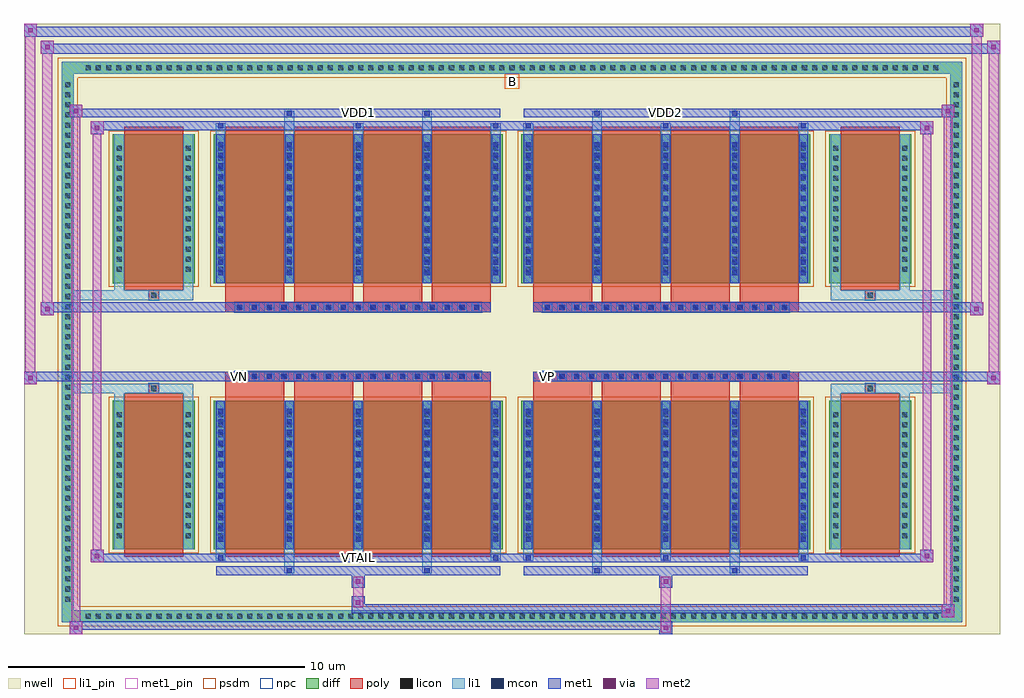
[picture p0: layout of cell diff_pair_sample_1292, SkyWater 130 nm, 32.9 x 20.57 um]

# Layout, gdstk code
import gdstk
lib = gdstk.Library(unit=1e-6, precision=5e-09)
def R(c, l, rs):  # rectangles x0, y0, x1, y1
    for r in rs: c.add(gdstk.rectangle(r[:2], r[2:], *l))
def A(c, l, x, y, w, h, nx, ny, dx, dy):  # array of equal rectangles
    R(c, l, [(x+i*dx, y+j*dy, x+i*dx+w, y+j*dy+h) for i in range(nx) for j in range(ny)])
def P(c, l, *ps):  # polygons
    for p in ps: c.add(gdstk.Polygon(p, *l))
nwell = (64, 20)
diff = (65, 20)
poly = (66, 20)
licon = (66, 44)
li1_pin = (67, 16)
li1 = (67, 20)
mcon = (67, 44)
met1_pin = (68, 16)
met1 = (68, 20)
via = (68, 44)
met2 = (69, 20)
psdm = (94, 20)
npc = (95, 20)

diff_pair_sample_1292 = lib.new_cell('diff_pair_sample_1292')
R(diff_pair_sample_1292, nwell, [(-16.45,-9.85,16.45,10.72), (-13.77,-8.04,-0.01,-0.8), (0.01,-8.04,13.77,-0.8), (-13.77,0.8,-0.01,8.04), (0.01,0.8,13.77,8.04)])
A(diff_pair_sample_1292, diff, -14.485, -9.45, 0.41, 0.41, 85, 2, 0.34, 18.49)
A(diff_pair_sample_1292, diff, -15.18, -8.875, 0.41, 0.41, 1, 52, 0, 0.34)
A(diff_pair_sample_1292, diff, 14.77, -8.875, 0.41, 0.41, 1, 52, 0, 0.34)
R(diff_pair_sample_1292, diff, [(-14.485,-9.45,14.485,-9.04), (-15.18,-8.875,-14.77,8.875), (14.77,-8.875,15.18,8.875), (-13.46,-6.995,-10.69,-1.985), (-10.05,-6.995,-0.32,-1.985), (0.32,-6.995,10.05,-1.985), (10.69,-6.995,13.46,-1.985), (-13.46,1.985,-10.69,6.995), (-10.05,1.985,-0.32,6.995), (0.32,1.985,10.05,6.995), (10.69,1.985,13.46,6.995), (-14.485,9.04,14.485,9.45)])
P(diff_pair_sample_1292, diff, [(15.18,9.45),(-15.18,9.45),(-15.18,-9.04),(-14.77,-9.04),(-14.77,9.04),(14.77,9.04),(14.77,-9.04),(-14.77,-9.04),(-15.18,-9.04),(-15.18,-9.45),(15.18,-9.45)])
A(diff_pair_sample_1292, poly, -9.66, -7.245, 1.99, 5.51, 4, 2, 2.32, 8.98)
A(diff_pair_sample_1292, poly, 0.71, -7.245, 1.99, 5.51, 4, 2, 2.32, 8.98)
A(diff_pair_sample_1292, poly, -9.66, -1.735, 1.99, 0.405, 4, 2, 2.32, 3.065)
A(diff_pair_sample_1292, poly, 0.71, -1.735, 1.99, 0.405, 4, 2, 2.32, 3.065)
A(diff_pair_sample_1292, poly, -9.35, -1.33, 0.33, 0.33, 17, 2, 0.5, 2.33)
A(diff_pair_sample_1292, poly, 1.02, -1.33, 0.33, 0.33, 17, 2, 0.5, 2.33)
R(diff_pair_sample_1292, poly, [(-13.07,-7.245,-11.08,-1.735), (11.08,-7.245,13.07,-1.735), (-12.24,-1.735,-11.91,-1.405), (-12.24,-1.735,-11.91,-1.405), (11.91,-1.735,12.24,-1.405), (11.91,-1.735,12.24,-1.405), (-9.66,-1.33,-0.71,-1), (0.71,-1.33,9.66,-1), (-9.66,1,-0.71,1.33), (0.71,1,9.66,1.33), (-12.24,1.405,-11.91,1.735), (-12.24,1.405,-11.91,1.735), (11.91,1.405,12.24,1.735), (11.91,1.405,12.24,1.735), (-13.07,1.735,-11.08,7.245), (11.08,1.735,13.07,7.245)])
A(diff_pair_sample_1292, licon, -14.365, -9.33, 0.17, 0.17, 85, 2, 0.34, 18.49)
A(diff_pair_sample_1292, licon, -15.06, -8.755, 0.17, 0.17, 1, 52, 0, 0.34)
A(diff_pair_sample_1292, licon, 14.89, -8.755, 0.17, 0.17, 1, 52, 0, 0.34)
A(diff_pair_sample_1292, licon, -13.32, -6.615, 0.17, 0.17, 1, 13, 0, 0.34)
A(diff_pair_sample_1292, licon, -11, -6.615, 0.17, 0.17, 1, 13, 0, 0.34)
A(diff_pair_sample_1292, licon, -9.91, -6.615, 0.17, 0.17, 5, 13, 2.32, 0.34)
A(diff_pair_sample_1292, licon, 0.46, -6.615, 0.17, 0.17, 5, 13, 2.32, 0.34)
A(diff_pair_sample_1292, licon, 10.83, -6.615, 0.17, 0.17, 1, 13, 0, 0.34)
A(diff_pair_sample_1292, licon, 13.15, -6.615, 0.17, 0.17, 1, 13, 0, 0.34)
A(diff_pair_sample_1292, licon, -9.27, -1.25, 0.17, 0.17, 17, 2, 0.5, 2.33)
A(diff_pair_sample_1292, licon, 1.1, -1.25, 0.17, 0.17, 17, 2, 0.5, 2.33)
A(diff_pair_sample_1292, licon, -13.32, 2.365, 0.17, 0.17, 1, 13, 0, 0.34)
A(diff_pair_sample_1292, licon, -11, 2.365, 0.17, 0.17, 1, 13, 0, 0.34)
A(diff_pair_sample_1292, licon, -9.91, 2.365, 0.17, 0.17, 5, 13, 2.32, 0.34)
A(diff_pair_sample_1292, licon, 0.46, 2.365, 0.17, 0.17, 5, 13, 2.32, 0.34)
A(diff_pair_sample_1292, licon, 10.83, 2.365, 0.17, 0.17, 1, 13, 0, 0.34)
A(diff_pair_sample_1292, licon, 13.15, 2.365, 0.17, 0.17, 1, 13, 0, 0.34)
R(diff_pair_sample_1292, licon, [(-12.16,-1.655,-11.99,-1.485), (11.99,-1.655,12.16,-1.485), (-12.16,1.485,-11.99,1.655), (11.99,1.485,12.16,1.655)])
R(diff_pair_sample_1292, li1_pin, [(-0.25,8.54,0.25,9.04)])
A(diff_pair_sample_1292, li1, -14.445, -9.41, 0.33, 0.33, 85, 2, 0.34, 18.49)
A(diff_pair_sample_1292, li1, -15.14, -8.835, 0.33, 0.33, 1, 52, 0, 0.34)
A(diff_pair_sample_1292, li1, 14.81, -8.835, 0.33, 0.33, 1, 52, 0, 0.34)
A(diff_pair_sample_1292, li1, -9.99, -7.37, 0.33, 0.375, 3, 2, 4.64, 14.365)
A(diff_pair_sample_1292, li1, -9.91, -7.37, 0.17, 0.17, 3, 2, 4.64, 14.57)
A(diff_pair_sample_1292, li1, 0.38, -7.37, 0.33, 0.375, 3, 2, 4.64, 14.365)
A(diff_pair_sample_1292, li1, 0.46, -7.37, 0.17, 0.17, 3, 2, 4.64, 14.57)
A(diff_pair_sample_1292, li1, -9.99, -6.995, 0.33, 5.01, 5, 2, 2.32, 8.98)
A(diff_pair_sample_1292, li1, 0.38, -6.995, 0.33, 5.01, 5, 2, 2.32, 8.98)
A(diff_pair_sample_1292, li1, -9.91, -6.735, 0.17, 0.17, 5, 13, 2.32, 0.36)
A(diff_pair_sample_1292, li1, -9.91, -6.735, 0.17, 4.49, 5, 2, 2.32, 8.98)
A(diff_pair_sample_1292, li1, 0.46, -6.735, 0.17, 0.17, 5, 13, 2.32, 0.36)
A(diff_pair_sample_1292, li1, 0.46, -6.735, 0.17, 4.49, 5, 2, 2.32, 8.98)
A(diff_pair_sample_1292, li1, -13.4, -6.695, 0.33, 0.33, 1, 13, 0, 0.34)
A(diff_pair_sample_1292, li1, -11.08, -6.695, 0.33, 0.33, 1, 13, 0, 0.34)
A(diff_pair_sample_1292, li1, -9.99, -6.695, 0.33, 0.33, 5, 13, 2.32, 0.34)
A(diff_pair_sample_1292, li1, 0.38, -6.695, 0.33, 0.33, 5, 13, 2.32, 0.34)
A(diff_pair_sample_1292, li1, 10.75, -6.695, 0.33, 0.33, 1, 13, 0, 0.34)
A(diff_pair_sample_1292, li1, 13.07, -6.695, 0.33, 0.33, 1, 13, 0, 0.34)
A(diff_pair_sample_1292, li1, -9.35, -1.33, 0.33, 0.33, 17, 2, 0.5, 2.33)
A(diff_pair_sample_1292, li1, 1.02, -1.33, 0.33, 0.33, 17, 2, 0.5, 2.33)
A(diff_pair_sample_1292, li1, -9.91, 2.245, 0.17, 0.17, 5, 13, 2.32, 0.36)
A(diff_pair_sample_1292, li1, 0.46, 2.245, 0.17, 0.17, 5, 13, 2.32, 0.36)
A(diff_pair_sample_1292, li1, -13.4, 2.285, 0.33, 0.33, 1, 13, 0, 0.34)
A(diff_pair_sample_1292, li1, -11.08, 2.285, 0.33, 0.33, 1, 13, 0, 0.34)
A(diff_pair_sample_1292, li1, -9.99, 2.285, 0.33, 0.33, 5, 13, 2.32, 0.34)
A(diff_pair_sample_1292, li1, 0.38, 2.285, 0.33, 0.33, 5, 13, 2.32, 0.34)
A(diff_pair_sample_1292, li1, 10.75, 2.285, 0.33, 0.33, 1, 13, 0, 0.34)
A(diff_pair_sample_1292, li1, 13.07, 2.285, 0.33, 0.33, 1, 13, 0, 0.34)
R(diff_pair_sample_1292, li1, [(-15.18,-9.45,-14.77,-9.04), (-15.18,-9.45,-14.77,-9.04), (-14.77,-9.45,14.77,-9.04), (14.77,-9.45,15.18,-9.04), (14.77,-9.45,15.18,-9.04), (-15.18,-9.04,-14.77,9.04), (14.77,-9.04,15.18,9.04), (-7.67,-7.8,-7.34,-6.995), (-7.59,-7.8,-7.42,-7.63), (-3.03,-7.8,-2.7,-6.995), (-2.95,-7.8,-2.78,-7.63), (2.7,-7.8,3.03,-6.995), (2.78,-7.8,2.95,-7.63), (7.34,-7.8,7.67,-6.995), (7.42,-7.8,7.59,-7.63), (-13.4,-6.995,-13.07,-1.985), (-11.08,-6.995,-10.75,-1.985), (10.75,-6.995,11.08,-1.985), (13.07,-6.995,13.4,-1.985), (-13.4,-1.985,-13.07,-1.405), (-11.08,-1.985,-10.75,-1.405), (10.75,-1.985,11.08,-1.405), (13.07,-1.985,13.4,-1.405), (-15.18,-1.735,-12.24,-1.405), (-13.4,-1.735,-12.24,-1.405), (-12.24,-1.735,-11.91,-1.405), (-11.91,-1.735,-10.75,-1.405), (10.75,-1.735,11.91,-1.405), (11.91,-1.735,12.24,-1.405), (11.91,-1.735,15.18,-1.405), (12.24,-1.735,13.4,-1.405), (-15.18,1.405,-12.24,1.735), (-13.4,1.405,-12.24,1.735), (-13.4,1.405,-13.07,1.985), (-12.24,1.405,-11.91,1.735), (-11.91,1.405,-10.75,1.735), (-11.08,1.405,-10.75,1.985), (10.75,1.405,11.91,1.735), (10.75,1.405,11.08,1.985), (11.91,1.405,12.24,1.735), (11.91,1.405,15.18,1.735), (12.24,1.405,13.4,1.735), (13.07,1.405,13.4,1.985), (-13.4,1.985,-13.07,6.995), (-11.08,1.985,-10.75,6.995), (10.75,1.985,11.08,6.995), (13.07,1.985,13.4,6.995), (-7.67,6.995,-7.34,7.8), (-3.03,6.995,-2.7,7.8), (2.7,6.995,3.03,7.8), (7.34,6.995,7.67,7.8), (-7.59,7.63,-7.42,7.8), (-2.95,7.63,-2.78,7.8), (2.78,7.63,2.95,7.8), (7.42,7.63,7.59,7.8), (-15.18,9.04,-14.77,9.45), (-15.18,9.04,-14.77,9.45), (-14.77,9.04,14.77,9.45), (14.77,9.04,15.18,9.45), (14.77,9.04,15.18,9.45)])
A(diff_pair_sample_1292, mcon, -9.91, -7.37, 0.17, 0.17, 3, 2, 4.64, 14.57)
A(diff_pair_sample_1292, mcon, 0.46, -7.37, 0.17, 0.17, 3, 2, 4.64, 14.57)
A(diff_pair_sample_1292, mcon, -9.91, -6.735, 0.17, 0.17, 5, 13, 2.32, 0.36)
A(diff_pair_sample_1292, mcon, 0.46, -6.735, 0.17, 0.17, 5, 13, 2.32, 0.36)
A(diff_pair_sample_1292, mcon, -9.27, -1.25, 0.17, 0.17, 17, 2, 0.5, 2.33)
A(diff_pair_sample_1292, mcon, 1.1, -1.25, 0.17, 0.17, 17, 2, 0.5, 2.33)
A(diff_pair_sample_1292, mcon, -9.91, 2.245, 0.17, 0.17, 5, 13, 2.32, 0.36)
A(diff_pair_sample_1292, mcon, 0.46, 2.245, 0.17, 0.17, 5, 13, 2.32, 0.36)
R(diff_pair_sample_1292, mcon, [(-7.59,-7.8,-7.42,-7.63), (-2.95,-7.8,-2.78,-7.63), (2.78,-7.8,2.95,-7.63), (7.42,-7.8,7.59,-7.63), (-7.59,7.63,-7.42,7.8), (-2.95,7.63,-2.78,7.8), (2.78,7.63,2.95,7.8), (7.42,7.63,7.59,7.8)])
R(diff_pair_sample_1292, met1_pin, [(-5.32,-7.41,-5.05,-7.14), (-9.32,-1.29,-9.05,-1.02), (1.05,-1.29,1.32,-1.02), (-5.32,7.59,-5.05,7.86), (5.05,7.59,5.32,7.86)])
A(diff_pair_sample_1292, met1, -9.97, -7.43, 0.29, 0.29, 3, 2, 4.64, 14.57)
A(diff_pair_sample_1292, met1, 0.4, -7.43, 0.29, 0.29, 3, 2, 4.64, 14.57)
A(diff_pair_sample_1292, met1, -9.97, -6.995, 0.29, 5.01, 5, 2, 2.32, 8.98)
A(diff_pair_sample_1292, met1, 0.4, -6.995, 0.29, 5.01, 5, 2, 2.32, 8.98)
A(diff_pair_sample_1292, met1, -9.97, -6.795, 0.29, 0.29, 5, 13, 2.32, 0.36)
A(diff_pair_sample_1292, met1, 0.4, -6.795, 0.29, 0.29, 5, 13, 2.32, 0.36)
A(diff_pair_sample_1292, met1, -9.33, -1.31, 0.29, 0.29, 17, 2, 0.5, 2.33)
A(diff_pair_sample_1292, met1, 1.04, -1.31, 0.29, 0.29, 17, 2, 0.5, 2.33)
A(diff_pair_sample_1292, met1, -9.97, 2.185, 0.29, 0.29, 5, 13, 2.32, 0.36)
A(diff_pair_sample_1292, met1, 0.4, 2.185, 0.29, 0.29, 5, 13, 2.32, 0.36)
R(diff_pair_sample_1292, met1, [(-14.91,-9.85,-14.48,-9.42), (4.97,-9.85,5.4,-9.42), (-14.91,-9.71,5.4,-9.42), (14.48,-9.28,14.91,-8.85), (-5.4,-9.14,14.91,-8.85), (-5.4,-9,-4.97,-8.57), (-5.4,-8.29,-4.97,-7.86), (4.97,-8.29,5.4,-7.86), (-9.97,-7.86,-0.4,-7.57), (-7.65,-7.86,-7.36,-7.57), (-3.01,-7.86,-2.72,-7.57), (0.4,-7.86,9.97,-7.57), (2.72,-7.86,3.01,-7.57), (7.36,-7.86,7.65,-7.57), (-14.2,-7.43,-13.77,-7), (-14.2,-7.43,-9.97,-7.14), (-9.97,-7.43,-0.4,-7.14), (-0.4,-7.43,0.4,-7.14), (0.4,-7.43,9.97,-7.14), (9.97,-7.43,14.2,-7.14), (13.77,-7.43,14.2,-7), (-16.45,-1.43,-16.02,-1), (16.02,-1.43,16.45,-1), (-16.45,-1.33,-0.71,-1), (-9.66,-1.33,-0.71,-1), (0.71,-1.33,9.66,-1), (0.71,-1.33,16.45,-1), (-15.88,0.9,-15.45,1.33), (15.45,0.9,15.88,1.33), (-15.88,1,-9.66,1.33), (-9.66,1,-0.71,1.33), (0.71,1,9.66,1.33), (9.66,1,15.88,1.33), (-14.2,7,-13.77,7.43), (13.77,7,14.2,7.43), (-14.2,7.14,-9.97,7.43), (-9.97,7.14,-0.4,7.43), (-0.4,7.14,0.4,7.43), (0.4,7.14,9.97,7.43), (9.97,7.14,14.2,7.43), (-14.91,7.57,-14.48,8), (-14.91,7.57,-9.97,7.86), (-9.97,7.57,-0.4,7.86), (-7.65,7.57,-7.36,7.86), (-3.01,7.57,-2.72,7.86), (0.4,7.57,9.97,7.86), (2.72,7.57,3.01,7.86), (7.36,7.57,7.65,7.86), (9.97,7.57,14.91,7.86), (14.48,7.57,14.91,8), (-15.88,9.72,-15.45,10.15), (-15.88,9.72,-13.77,10.05), (-13.77,9.72,13.77,10.05), (13.77,9.72,16.45,10.05), (16.02,9.72,16.45,10.15), (-16.45,10.29,-16.02,10.72), (-16.45,10.29,-13.77,10.62), (-13.77,10.29,13.77,10.62), (13.77,10.29,15.88,10.62), (15.45,10.29,15.88,10.72)])
R(diff_pair_sample_1292, via, [(-14.77,-9.71,-14.62,-9.56), (5.11,-9.71,5.26,-9.56), (14.62,-9.14,14.77,-8.99), (-5.26,-8.86,-5.11,-8.71), (-5.26,-8.15,-5.11,-8), (5.11,-8.15,5.26,-8), (-14.06,-7.29,-13.91,-7.14), (13.91,-7.29,14.06,-7.14), (-16.31,-1.29,-16.16,-1.14), (16.16,-1.29,16.31,-1.14), (-15.74,1.04,-15.59,1.19), (15.59,1.04,15.74,1.19), (-14.06,7.14,-13.91,7.29), (13.91,7.14,14.06,7.29), (-14.77,7.71,-14.62,7.86), (14.62,7.71,14.77,7.86), (-15.74,9.86,-15.59,10.01), (16.16,9.86,16.31,10.01), (-16.31,10.43,-16.16,10.58), (15.59,10.43,15.74,10.58)])
R(diff_pair_sample_1292, met2, [(-14.91,-9.85,-14.48,-9.42), (-14.84,-9.85,-14.55,8), (-14.55,-9.85,-14.48,-9.42), (-14.86,-9.8,-14.53,-9.47), (5.02,-9.8,5.35,-9.47), (5.02,-9.47,5.35,-8.24), (14.48,-9.28,14.91,-8.85), (14.55,-9.28,14.84,8), (14.84,-9.28,14.91,-8.85), (14.53,-9.23,14.86,-8.9), (-5.35,-8.95,-5.02,-8.62), (-5.35,-8.62,-5.02,-8.24), (-5.35,-8.24,-5.02,-7.91), (5.02,-8.24,5.35,-7.91), (-14.2,-7.43,-13.77,-7), (-14.13,-7.43,-13.84,7.43), (-13.84,-7.43,-13.77,-7), (13.77,-7.43,14.2,-7), (13.84,-7.43,14.13,7.43), (14.13,-7.43,14.2,-7), (-14.15,-7.38,-13.82,-7.05), (13.82,-7.38,14.15,-7.05), (-16.45,-1.43,-16.02,-1), (-16.4,-1.43,-16.07,10.72), (-16.07,-1.43,-16.02,-1), (16.02,-1.43,16.45,-1), (16.07,-1.43,16.4,10.15), (16.4,-1.43,16.45,-1), (-16.4,-1.38,-16.07,-1.05), (16.07,-1.38,16.4,-1.05), (-15.88,0.9,-15.45,1.33), (-15.83,0.9,-15.5,10.15), (-15.5,0.9,-15.45,1.33), (15.45,0.9,15.88,1.33), (15.5,0.9,15.83,10.72), (15.83,0.9,15.88,1.33), (-15.83,0.95,-15.5,1.28), (15.5,0.95,15.83,1.28), (-14.2,7,-13.77,7.43), (-13.84,7,-13.77,7.43), (13.77,7,14.2,7.43), (14.13,7,14.2,7.43), (-14.15,7.05,-13.82,7.38), (13.82,7.05,14.15,7.38), (-14.91,7.57,-14.48,8), (-14.55,7.57,-14.48,8), (14.48,7.57,14.91,8), (14.84,7.57,14.91,8), (-14.86,7.62,-14.53,7.95), (14.53,7.62,14.86,7.95), (-15.88,9.72,-15.45,10.15), (-15.5,9.72,-15.45,10.15), (16.02,9.72,16.45,10.15), (16.4,9.72,16.45,10.15), (-15.83,9.77,-15.5,10.1), (16.07,9.77,16.4,10.1), (-16.45,10.29,-16.02,10.72), (-16.07,10.29,-16.02,10.72), (15.45,10.29,15.88,10.72), (15.83,10.29,15.88,10.72), (-16.4,10.34,-16.07,10.67), (15.5,10.34,15.83,10.67)])
R(diff_pair_sample_1292, psdm, [(-13.59,-7.125,-10.56,-1.855), (-10.18,-7.125,-0.19,-1.855), (0.19,-7.125,10.18,-1.855), (10.56,-7.125,13.59,-1.855), (-13.59,1.855,-10.56,7.125), (-10.18,1.855,-0.19,7.125), (0.19,1.855,10.18,7.125), (10.56,1.855,13.59,7.125)])
P(diff_pair_sample_1292, psdm, [(15.31,9.58),(-15.31,9.58),(-15.31,-8.91),(-14.64,-8.91),(-14.64,8.91),(14.64,8.91),(14.64,-8.91),(-14.64,-8.91),(-15.31,-8.91),(-15.31,-9.58),(15.31,-9.58)])
A(diff_pair_sample_1292, npc, -9.37, -1.35, 0.37, 0.37, 17, 2, 0.5, 2.33)
A(diff_pair_sample_1292, npc, 1, -1.35, 0.37, 0.37, 17, 2, 0.5, 2.33)
R(diff_pair_sample_1292, npc, [(-12.26,-1.755,-11.89,-1.385), (11.89,-1.755,12.26,-1.385), (-9.37,-1.35,-8.5,-0.98), (-9.37,-1.35,-8.5,-0.98), (-8.87,-1.35,-8,-0.98), (-8.87,-1.35,-8,-0.98), (-8.37,-1.35,-7.5,-0.98), (-8.37,-1.35,-7.5,-0.98), (-7.87,-1.35,-7,-0.98), (-7.87,-1.35,-7,-0.98), (-7.37,-1.35,-6.5,-0.98), (-7.37,-1.35,-6.5,-0.98), (-6.87,-1.35,-6,-0.98), (-6.87,-1.35,-6,-0.98), (-6.37,-1.35,-5.5,-0.98), (-6.37,-1.35,-5.5,-0.98), (-5.87,-1.35,-5,-0.98), (-5.87,-1.35,-5,-0.98), (-5.37,-1.35,-4.5,-0.98), (-5.37,-1.35,-4.5,-0.98), (-4.87,-1.35,-4,-0.98), (-4.87,-1.35,-4,-0.98), (-4.37,-1.35,-3.5,-0.98), (-4.37,-1.35,-3.5,-0.98), (-3.87,-1.35,-3,-0.98), (-3.87,-1.35,-3,-0.98), (-3.37,-1.35,-2.5,-0.98), (-3.37,-1.35,-2.5,-0.98), (-2.87,-1.35,-2,-0.98), (-2.87,-1.35,-2,-0.98), (-2.37,-1.35,-1.5,-0.98), (-2.37,-1.35,-1.5,-0.98), (-1.87,-1.35,-1,-0.98), (-1.87,-1.35,-1,-0.98), (1,-1.35,1.87,-0.98), (1,-1.35,1.87,-0.98), (1.5,-1.35,2.37,-0.98), (1.5,-1.35,2.37,-0.98), (2,-1.35,2.87,-0.98), (2,-1.35,2.87,-0.98), (2.5,-1.35,3.37,-0.98), (2.5,-1.35,3.37,-0.98), (3,-1.35,3.87,-0.98), (3,-1.35,3.87,-0.98), (3.5,-1.35,4.37,-0.98), (3.5,-1.35,4.37,-0.98), (4,-1.35,4.87,-0.98), (4,-1.35,4.87,-0.98), (4.5,-1.35,5.37,-0.98), (4.5,-1.35,5.37,-0.98), (5,-1.35,5.87,-0.98), (5,-1.35,5.87,-0.98), (5.5,-1.35,6.37,-0.98), (5.5,-1.35,6.37,-0.98), (6,-1.35,6.87,-0.98), (6,-1.35,6.87,-0.98), (6.5,-1.35,7.37,-0.98), (6.5,-1.35,7.37,-0.98), (7,-1.35,7.87,-0.98), (7,-1.35,7.87,-0.98), (7.5,-1.35,8.37,-0.98), (7.5,-1.35,8.37,-0.98), (8,-1.35,8.87,-0.98), (8,-1.35,8.87,-0.98), (8.5,-1.35,9.37,-0.98), (8.5,-1.35,9.37,-0.98), (-9.37,0.98,-8.5,1.35), (-9.37,0.98,-8.5,1.35), (-8.87,0.98,-8,1.35), (-8.87,0.98,-8,1.35), (-8.37,0.98,-7.5,1.35), (-8.37,0.98,-7.5,1.35), (-7.87,0.98,-7,1.35), (-7.87,0.98,-7,1.35), (-7.37,0.98,-6.5,1.35), (-7.37,0.98,-6.5,1.35), (-6.87,0.98,-6,1.35), (-6.87,0.98,-6,1.35), (-6.37,0.98,-5.5,1.35), (-6.37,0.98,-5.5,1.35), (-5.87,0.98,-5,1.35), (-5.87,0.98,-5,1.35), (-5.37,0.98,-4.5,1.35), (-5.37,0.98,-4.5,1.35), (-4.87,0.98,-4,1.35), (-4.87,0.98,-4,1.35), (-4.37,0.98,-3.5,1.35), (-4.37,0.98,-3.5,1.35), (-3.87,0.98,-3,1.35), (-3.87,0.98,-3,1.35), (-3.37,0.98,-2.5,1.35), (-3.37,0.98,-2.5,1.35), (-2.87,0.98,-2,1.35), (-2.87,0.98,-2,1.35), (-2.37,0.98,-1.5,1.35), (-2.37,0.98,-1.5,1.35), (-1.87,0.98,-1,1.35), (-1.87,0.98,-1,1.35), (1,0.98,1.87,1.35), (1,0.98,1.87,1.35), (1.5,0.98,2.37,1.35), (1.5,0.98,2.37,1.35), (2,0.98,2.87,1.35), (2,0.98,2.87,1.35), (2.5,0.98,3.37,1.35), (2.5,0.98,3.37,1.35), (3,0.98,3.87,1.35), (3,0.98,3.87,1.35), (3.5,0.98,4.37,1.35), (3.5,0.98,4.37,1.35), (4,0.98,4.87,1.35), (4,0.98,4.87,1.35), (4.5,0.98,5.37,1.35), (4.5,0.98,5.37,1.35), (5,0.98,5.87,1.35), (5,0.98,5.87,1.35), (5.5,0.98,6.37,1.35), (5.5,0.98,6.37,1.35), (6,0.98,6.87,1.35), (6,0.98,6.87,1.35), (6.5,0.98,7.37,1.35), (6.5,0.98,7.37,1.35), (7,0.98,7.87,1.35), (7,0.98,7.87,1.35), (7.5,0.98,8.37,1.35), (7.5,0.98,8.37,1.35), (8,0.98,8.87,1.35), (8,0.98,8.87,1.35), (8.5,0.98,9.37,1.35), (8.5,0.98,9.37,1.35), (-12.26,1.385,-11.89,1.755), (11.89,1.385,12.26,1.755)])
diff_pair_sample_1292.add(gdstk.Label('VTAIL', (-5.185,-7.275), layer=68, texttype=5))
diff_pair_sample_1292.add(gdstk.Label('VN', (-9.185,-1.155), layer=68, texttype=5))
diff_pair_sample_1292.add(gdstk.Label('VP', (1.185,-1.155), layer=68, texttype=5))
diff_pair_sample_1292.add(gdstk.Label('B', (0,8.79), layer=67, texttype=5))
diff_pair_sample_1292.add(gdstk.Label('VDD2', (5.185,7.725), layer=68, texttype=5))
diff_pair_sample_1292.add(gdstk.Label('VDD1', (-5.185,7.725), layer=68, texttype=5))

lib.write_gds('diff_pair_sample_1292.gds')
